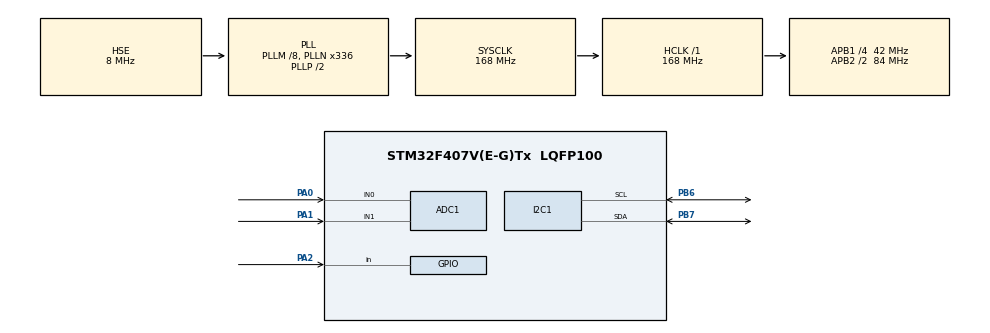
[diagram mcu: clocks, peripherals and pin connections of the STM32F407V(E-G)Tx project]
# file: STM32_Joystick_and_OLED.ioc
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ADC1.Channel-0\#ChannelRegularConversion=ADC_CHANNEL_0
ADC1.Channel-1\#ChannelRegularConversion=ADC_CHANNEL_1
ADC1.ContinuousConvMode=DISABLE
ADC1.NbrOfConversion=2
ADC1.NbrOfConversionFlag=1
ADC1.Rank-0\#ChannelRegularConversion=1
ADC1.Rank-1\#ChannelRegularConversion=2
ADC1.SamplingTime-0\#ChannelRegularConversion=ADC_SAMPLETIME_56CYCLES
ADC1.SamplingTime-1\#ChannelRegularConversion=ADC_SAMPLETIME_56CYCLES
ADC1.ScanConvMode=ENABLE
ADC1.master=1
I2C1.I2C_Mode=I2C_Fast
Mcu.Family=STM32F4
Mcu.Name=STM32F407V(E-G)Tx
Mcu.Package=LQFP100
NVIC.PriorityGroup=NVIC_PRIORITYGROUP_0
PA0-WKUP.Signal=ADCx_IN0
PA1.Signal=ADCx_IN1
PA13.Mode=Serial_Wire
PA13.Signal=SYS_JTMS-SWDIO
PA14.Mode=Serial_Wire
PA14.Signal=SYS_JTCK-SWCLK
PA2.Signal=GPIO_Input
PB6.Mode=I2C
PB6.Signal=I2C1_SCL
PB7.Mode=I2C
PB7.Signal=I2C1_SDA
PH0-OSC_IN.Mode=HSE-External-Oscillator
PH0-OSC_IN.Signal=RCC_OSC_IN
PH1-OSC_OUT.Mode=HSE-External-Oscillator
PH1-OSC_OUT.Signal=RCC_OSC_OUT
ProjectManager.HeapSize=0x200
ProjectManager.StackSize=0x400
ProjectManager.TargetToolchain=STM32CubeIDE
RCC.48MHZClocksFreq_Value=48000000
RCC.AHBFreq_Value=168000000
RCC.APB1CLKDivider=RCC_HCLK_DIV4
RCC.APB1Freq_Value=42000000
RCC.APB1TimFreq_Value=84000000
RCC.APB2CLKDivider=RCC_HCLK_DIV2
RCC.APB2Freq_Value=84000000
RCC.APB2TimFreq_Value=168000000
RCC.CortexFreq_Value=168000000
RCC.HCLKFreq_Value=168000000
RCC.HSE_VALUE=8000000
RCC.HSI_VALUE=16000000
RCC.PLLM=8
RCC.PLLN=336
RCC.PLLQ=7
RCC.PLLSourceVirtual=RCC_PLLSOURCE_HSE
RCC.SYSCLKFreq_VALUE=168000000
RCC.SYSCLKSource=RCC_SYSCLKSOURCE_PLLCLK
RCC.VCOOutputFreq_Value=336000000
SH.ADCx_IN0.0=ADC1_IN0,IN0
SH.ADCx_IN1.0=ADC1_IN1,IN1
board=STM32F407G-DISC1

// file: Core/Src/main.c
/* USER CODE BEGIN Header */
/**
  ******************************************************************************
  * @file           : main.c
  * @brief          : Main program body
  ******************************************************************************
  * @attention
  *
  * Copyright (c) 2025 STMicroelectronics.
  * All rights reserved.
  *
  * This software is licensed under terms that can be found in the LICENSE file
  * in the root directory of this software component.
  * If no LICENSE file comes with this software, it is provided AS-IS.
  *
  ******************************************************************************
  */
/* USER CODE END Header */
#include "main.h"

ADC_HandleTypeDef hadc1;

I2C_HandleTypeDef hi2c1;

void SystemClock_Config(void);
static void MX_GPIO_Init(void);
static void MX_ADC1_Init(void);
static void MX_I2C1_Init(void);

/* USER CODE BEGIN 0 */

#include "ssd1306.h"
#include "fonts.h"
#include "stdio.h"
#include "arrow.h"

char text_buff[50];

#define JoyStick_SW_GPIO 	GPIOA
#define JoyStick_SW_PIN  	GPIO_PIN_2

#define JoyStick_ADC 		&hadc1

typedef struct{
	uint16_t VRx;
	uint16_t VRy;
	uint8_t Switch;
}JoyStick;

JoyStick myJoyStick;

void Read_JoyStick()
{
	HAL_ADC_Start(JoyStick_ADC);
	HAL_ADC_PollForConversion(&hadc1, HAL_MAX_DELAY);
	myJoyStick.VRx = HAL_ADC_GetValue(JoyStick_ADC);
	HAL_ADC_PollForConversion(&hadc1, HAL_MAX_DELAY);
	myJoyStick.VRy = HAL_ADC_GetValue(JoyStick_ADC);
	HAL_ADC_Stop(JoyStick_ADC);
	myJoyStick.Switch = HAL_GPIO_ReadPin(JoyStick_SW_GPIO, JoyStick_SW_PIN);
}

void Write_OLED()
{
	SSD1306_GotoXY (10,10); // goto 10, 10
	sprintf (text_buff, "VRx: %04d", myJoyStick.VRx);
	SSD1306_Puts (text_buff, &Font_7x10, 1);
	SSD1306_GotoXY (10, 30);
	sprintf (text_buff, "VRy: %4d", myJoyStick.VRy);
	SSD1306_Puts (text_buff, &Font_7x10, 1);

	//******************************//----> ARROWS
	SSD1306_DrawFilledRectangle(100, 0, 32, 35, 0); //Draw Black Filled Rectangle for Up or Down
	SSD1306_DrawFilledRectangle(50, 40, 35, 32, 0); //Draw Black Filled Rectangle for Right or Left
	if(myJoyStick.VRx < 1000) SSD1306_DrawBitmap(100, 0, arrow_up, 32, 35, 1); 		//Up of Arrow
	if(myJoyStick.VRx > 3000) SSD1306_DrawBitmap(100, 0, arrow_down, 32, 35, 1); 	//Down of Arrow
	if(myJoyStick.VRy < 1000) SSD1306_DrawBitmap(50, 40, arrow_right, 35, 32, 1); 	//Right of Arrow
	if(myJoyStick.VRy > 3000) SSD1306_DrawBitmap(50, 40, arrow_left, 35, 32, 1); 	//Left of Arrow
    //******************************//

	SSD1306_UpdateScreen(); // update screen
}

/* USER CODE END 0 */

int main(void)
{

  /* MCU Configuration--------------------------------------------------------*/

  /* Reset of all peripherals, Initializes the Flash interface and the Systick. */
  HAL_Init();

  /* Configure the system clock */
  SystemClock_Config();

  /* Initialize all configured peripherals */
  MX_GPIO_Init();
  MX_ADC1_Init();
  MX_I2C1_Init();
  /* USER CODE BEGIN 2 */

  SSD1306_Init (); // initialise the display
  SSD1306_Clear(); // clear display
  /* USER CODE END 2 */

  /* Infinite loop */
  while (1)
  {

    /* USER CODE BEGIN 3 */
		Read_JoyStick();

		Write_OLED();

		HAL_Delay(100);

  }
  /* USER CODE END 3 */
}

void SystemClock_Config(void)
{
  RCC_OscInitTypeDef RCC_OscInitStruct = {0};
  RCC_ClkInitTypeDef RCC_ClkInitStruct = {0};

  /** Configure the main internal regulator output voltage
  */
  __HAL_RCC_PWR_CLK_ENABLE();
  __HAL_PWR_VOLTAGESCALING_CONFIG(PWR_REGULATOR_VOLTAGE_SCALE1);

  /** Initializes the RCC Oscillators according to the specified parameters
  * in the RCC_OscInitTypeDef structure.
  */
  RCC_OscInitStruct.OscillatorType = RCC_OSCILLATORTYPE_HSE;
  RCC_OscInitStruct.HSEState = RCC_HSE_ON;
  RCC_OscInitStruct.PLL.PLLState = RCC_PLL_ON;
  RCC_OscInitStruct.PLL.PLLSource = RCC_PLLSOURCE_HSE;
  RCC_OscInitStruct.PLL.PLLM = 8;
  RCC_OscInitStruct.PLL.PLLN = 336;
  RCC_OscInitStruct.PLL.PLLP = RCC_PLLP_DIV2;
  RCC_OscInitStruct.PLL.PLLQ = 7;
  if (HAL_RCC_OscConfig(&RCC_OscInitStruct) != HAL_OK)
  {
    Error_Handler();
  }

  /** Initializes the CPU, AHB and APB buses clocks
  */
  RCC_ClkInitStruct.ClockType = RCC_CLOCKTYPE_HCLK|RCC_CLOCKTYPE_SYSCLK
                              |RCC_CLOCKTYPE_PCLK1|RCC_CLOCKTYPE_PCLK2;
  RCC_ClkInitStruct.SYSCLKSource = RCC_SYSCLKSOURCE_PLLCLK;
  RCC_ClkInitStruct.AHBCLKDivider = RCC_SYSCLK_DIV1;
  RCC_ClkInitStruct.APB1CLKDivider = RCC_HCLK_DIV4;
  RCC_ClkInitStruct.APB2CLKDivider = RCC_HCLK_DIV2;

  if (HAL_RCC_ClockConfig(&RCC_ClkInitStruct, FLASH_LATENCY_5) != HAL_OK)
  {
    Error_Handler();
  }
}

static void MX_ADC1_Init(void)
{

  ADC_ChannelConfTypeDef sConfig = {0};

  /** Configure the global features of the ADC (Clock, Resolution, Data Alignment and number of conversion)
  */
  hadc1.Instance = ADC1;
  hadc1.Init.ClockPrescaler = ADC_CLOCK_SYNC_PCLK_DIV4;
  hadc1.Init.Resolution = ADC_RESOLUTION_12B;
  hadc1.Init.ScanConvMode = ENABLE;
  hadc1.Init.ContinuousConvMode = DISABLE;
  hadc1.Init.DiscontinuousConvMode = DISABLE;
  hadc1.Init.ExternalTrigConvEdge = ADC_EXTERNALTRIGCONVEDGE_NONE;
  hadc1.Init.ExternalTrigConv = ADC_SOFTWARE_START;
  hadc1.Init.DataAlign = ADC_DATAALIGN_RIGHT;
  hadc1.Init.NbrOfConversion = 2;
  hadc1.Init.DMAContinuousRequests = DISABLE;
  hadc1.Init.EOCSelection = ADC_EOC_SINGLE_CONV;
  if (HAL_ADC_Init(&hadc1) != HAL_OK)
  {
    Error_Handler();
  }

  /** Configure for the selected ADC regular channel its corresponding rank in the sequencer and its sample time.
  */
  sConfig.Channel = ADC_CHANNEL_0;
  sConfig.Rank = 1;
  sConfig.SamplingTime = ADC_SAMPLETIME_56CYCLES;
  if (HAL_ADC_ConfigChannel(&hadc1, &sConfig) != HAL_OK)
  {
    Error_Handler();
  }

  /** Configure for the selected ADC regular channel its corresponding rank in the sequencer and its sample time.
  */
  sConfig.Channel = ADC_CHANNEL_1;
  sConfig.Rank = 2;
  if (HAL_ADC_ConfigChannel(&hadc1, &sConfig) != HAL_OK)
  {
    Error_Handler();
  }

}

static void MX_I2C1_Init(void)
{

  hi2c1.Instance = I2C1;
  hi2c1.Init.ClockSpeed = 400000;
  hi2c1.Init.DutyCycle = I2C_DUTYCYCLE_2;
  hi2c1.Init.OwnAddress1 = 0;
  hi2c1.Init.AddressingMode = I2C_ADDRESSINGMODE_7BIT;
  hi2c1.Init.DualAddressMode = I2C_DUALADDRESS_DISABLE;
  hi2c1.Init.OwnAddress2 = 0;
  hi2c1.Init.GeneralCallMode = I2C_GENERALCALL_DISABLE;
  hi2c1.Init.NoStretchMode = I2C_NOSTRETCH_DISABLE;
  if (HAL_I2C_Init(&hi2c1) != HAL_OK)
  {
    Error_Handler();
  }

}

static void MX_GPIO_Init(void)
{
  GPIO_InitTypeDef GPIO_InitStruct = {0};

  /* GPIO Ports Clock Enable */
  __HAL_RCC_GPIOH_CLK_ENABLE();
  __HAL_RCC_GPIOA_CLK_ENABLE();
  __HAL_RCC_GPIOB_CLK_ENABLE();

  /*Configure GPIO pin : PA2 */
  GPIO_InitStruct.Pin = GPIO_PIN_2;
  GPIO_InitStruct.Mode = GPIO_MODE_INPUT;
  GPIO_InitStruct.Pull = GPIO_NOPULL;
  HAL_GPIO_Init(GPIOA, &GPIO_InitStruct);

}

void Error_Handler(void)
{
  __disable_irq();
  while (1)
  {
  }
}
